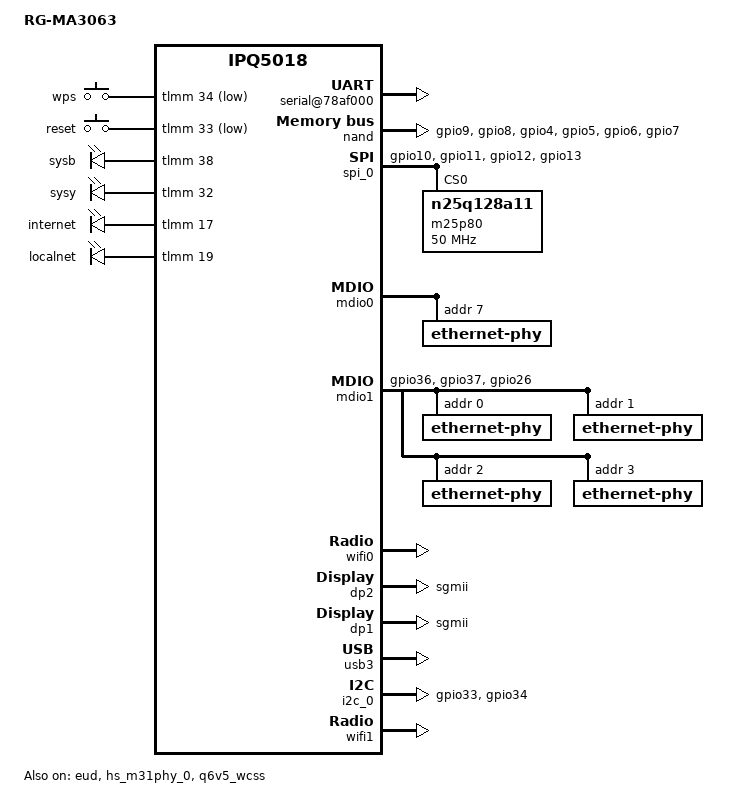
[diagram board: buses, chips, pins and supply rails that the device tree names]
// SPDX-License-Identifier: (GPL-2.0+)

/dts-v1/;

#include "ipq5018.dtsi"
#include "ipq5018-ess.dtsi"
#include <dt-bindings/gpio/gpio.h>
#include <dt-bindings/input/input.h>
/ {
	model = "RG-MA3063";
	compatible = "rg,ma3063", "qcom,ipq5018-mp02.1", "qcom,ipq5018";

	interrupt-parent = <&intc>;

	aliases {
		sdhc1 = &sdhc_1; /* SDC1 eMMC slot */
		serial0 = &blsp1_uart1;
		serial1 = &blsp1_uart2;
		ethernet0 = "/soc/dp1";
		ethernet1 = "/soc/dp2";
	};

	chosen {
	     bootargs = "console=ttyMSM0,115200,n8";
		bootargs-append = " ubi.mtd=rootfs root=/dev/ubiblock0_1 swiotlb=1 coherent_pool=2M";
	};

	soc {
		serial@78af000 {
			status = "ok";
		};

		qpic_bam: dma@7984000{
			status = "ok";
		};

		nand: qpic-nand@79b0000 {
			pinctrl-0 = <&qspi_nand_pins>;
			pinctrl-names = "default";
			status = "ok";
		};

		spi_0: spi@78b5000 { /* BLSP1 QUP0 */
			pinctrl-0 = <&blsp0_spi_pins>;
			pinctrl-names = "default";
			cs-select = <0>;
			status = "ok";

			m25p80@0 {
				#address-cells = <1>;
				#size-cells = <1>;
				reg = <0>;
				compatible = "n25q128a11";
				linux,modalias = "m25p80", "n25q128a11";
				spi-max-frequency = <50000000>;
				use-default-sizes;
			};
		};

		mdio0: mdio@88000 {
			status = "ok";

			ethernet-phy@0 {
				reg = <7>;
			};
		};

		mdio1: mdio@90000 {
			status = "ok";
			pinctrl-0 = <&mdio1_pins>;
			pinctrl-names = "default";
			phy-reset-gpio = <&tlmm 26 0>;

			ethernet-phy@0 {
				reg = <0>;
			};
			ethernet-phy@1 {
				reg = <1>;
			};
			ethernet-phy@2 {
				reg = <2>;
			};
			ethernet-phy@3 {
				reg = <3>;
			};

		};

		ess-uniphy@98000 {
			status = "disabled";
		};
		ess-instance {
			num_devices = <0x2>;
			ess-switch@0x39c00000 {
				switch_mac_mode = <0xf>; /* mac mode for uniphy instance*/
				cmnblk_clk = "internal_96MHz"; /* cmnblk clk*/
				qcom,port_phyinfo {
					port@0 {
						port_id = <1>;
						phy_address = <7>;
						mdiobus = <&mdio0>;
					};
					port@1 {
						port_id = <2>;
						phy_address = <0>;
						forced-speed = <1000>;
						forced-duplex = <1>;
					};
				};
				
				led_source@0 {
					source = <0>;
					mode = "normal";
					speed = "all";
					blink_en = "enable";
					active = "low";
				};
			};

			ess-switch1@1 {
				device_id = <1>;
				compatible = "qcom,ess-switch-qca83xx";
				switch_access_mode = "mdio";
				mdio-bus = <&mdio1>;
				reset_gpio = <0x1a>;
				link-polling-required = <0x01>;
				switch_cpu_bmp = <0x40>;  /* cpu port bitmap */
				switch_lan_bmp = <0x1e>; /* lan port bitmap */
				switch_wan_bmp = <0x00>;  /* wan port bitmap */
				qca,ar8327-initvals = <
						0x00004 0x0000000   /* PAD0_MODE */
						0x00008 0x0000000   /* PAD5_MODE */
						0x0000c 0x80        /* PAD6_MODE */
						0x00010 0x2613a0    /* PORT6 FORCE MODE*/
						0x000e4 0xaa545     /* MAC_POWER_SEL */
						0x000e0 0xc74164de  /* SGMII_CTRL */
						0x0007c 0x4e        /* PORT0_STATUS */
						0x00094 0x4e        /* PORT6_STATUS */
				>;
				qcom,port_phyinfo {
					port@0 {
						port_id = <1>;
						phy_address = <0>;
					};
					port@1 {
						port_id = <2>;
						phy_address = <1>;
					};
					port@2 {
						port_id = <3>;
						phy_address = <2>;
					};
					port@3 {
						port_id = <4>;
						phy_address = <3>;
					};
				};
			};
		};


		wifi0: wifi@c000000 {
			qcom,tgt-mem-mode = <2>;
			status = "ok";
		};

		wifi2: wifi2@c000000 {
			compatible = "qcom,cnss-qcn6122";
			qcom,rproc = <&q6v5_wcss>;
			status = "disabled";
		};

		dp2 {
			device_type = "network";
			compatible = "qcom,nss-dp";
			clocks = <&gcc GCC_SNOC_GMAC0_AXI_CLK>;
			clock-names = "nss-snoc-gmac-axi-clk";
			qcom,id = <1>;
			reg = <0x39C00000 0x10000>;
			interrupts = <GIC_SPI 101 IRQ_TYPE_LEVEL_HIGH>;
			qcom,mactype = <2>;
			qcom,link-poll = <1>;
			qcom,phy-mdio-addr = <7>;
			mdio-bus = <&mdio0>;
			local-mac-address = [00037F126463];
			phy-mode = "sgmii";
		};

		dp1 {
			device_type = "network";
			compatible = "qcom,nss-dp";
			clocks = <&gcc GCC_SNOC_GMAC1_AXI_CLK>;
			clock-names = "nss-snoc-gmac-axi-clk";
			qcom,id = <2>;
			reg = <0x39D00000 0x10000>;
			interrupts = <GIC_SPI 109 IRQ_TYPE_LEVEL_HIGH>;
			qcom,mactype = <2>;
			local-mac-address = [00037F126464];
			phy-mode = "sgmii";
		};
	};

	qcom,test@0 {
		status = "ok";
	};

	thermal-zones {
		status = "ok";
	};
};

&sdhc_1 {
	status = "disabled";
};

&tlmm {
	pinctrl-0 = <&blsp0_uart_pins>;
	pinctrl-names = "default";

	blsp0_uart_pins: blsp0_uart_pins {
		blsp0_uart_rx {
			pins = "gpio28";
			function = "blsp0_uart1";
			drive-strength = <8>;
			input-enable;
			bias-disable;
			bias-pull-up;
		};
		blsp0_uart_tx {
			pins = "gpio29";
			function = "blsp0_uart1";
			drive-strength = <8>;
			bias-disable;
			output-high;
			bias-pull-up;
		};
	};


	blsp0_spi_pins: blsp0_spi_pins {
		mux {
			pins = "gpio10", "gpio11", "gpio12", "gpio13";
			function = "blsp0_spi";
			drive-strength = <2>;
			bias-disable;
		};
	};

	qspi_nand_pins: qspi_nand_pins {
		qspi_clock {
			pins = "gpio9";
			function = "qspi_clk";
			drive-strength = <8>;
			bias-disable;
		};

		qspi_cs {
			pins = "gpio8";
			function = "qspi_cs";
			drive-strength = <8>;
			bias-disable;
		};

		qspi_data {
			pins = "gpio4", "gpio5", "gpio6", "gpio7";
			function = "qspi_data";
			drive-strength = <8>;
			bias-disable;
		};
	};


	mdio1_pins: mdio_pinmux {
		mux_0 {
			pins = "gpio36";
			function = "mdc";
			drive-strength = <8>;
			bias-pull-up;
		};

		mux_1 {
			pins = "gpio37";
			function = "mdio";
			drive-strength = <8>;
			bias-pull-up;
		};

		mux_2 {
			pins = "gpio26";
			function = "gpio";
			drive-strength = <8>;
			output-low;
			};

	};


	i2c_pins: i2c_pins {
		i2c_scl {
			pins = "gpio33";
			function = "blsp2_i2c0";
			drive-strength = <8>;
			bias-disable;
		};

		i2c_sda {
			pins = "gpio34";
			function = "blsp2_i2c0";
			drive-strength = <8>;
			bias-disable;
		};
	};

	btss_pins: btss_pins {

		phandle = <0x1>;

		mux_0 {
			pins = "gpio4";
			function = "btss0";
			bias-pull-down;
		};

		mux_1 {
			pins = "gpio5";
			function = "btss1";
			bias-pull-down;
		};

		mux_2 {
			pins = "gpio6";
			function = "btss2";
			bias-pull-down;
		};

		mux_3 {
			pins = "gpio7";
			function = "btss3";
			bias-pull-down;
		};
	};

	button_pins: button_pins {
		wps_button {
			pins = "gpio34";
			function = "gpio";
			drive-strength = <8>;
			bias-pull-up;
		};
		reset_button {
			pins = "gpio33";
			function = "gpio";
			drive-strength = <8>;
			bias-pull-up;
		};
	};

	leds_pins: leds_pins {
		sysb {
			pins = "gpio38";
			function = "gpio";
			drive-strength = <8>;
			bias-pull-down;
		};
		sysy {
			pins = "gpio32";
			function = "gpio";
			drive-strength = <8>;
			bias-pull-down;
		};
		internet {
			pins = "gpio17";
			function = "gpio";
			drive-strength = <8>;
			bias-pull-down;
		};
		localnet {
			pins = "gpio19";
			function = "gpio";
			drive-strength = <8>;
			bias-pull-down;
		};
	};

};

&soc {
	gpio_keys {
		compatible = "gpio-keys";
		pinctrl-0 = <&button_pins>;
		pinctrl-names = "default";

		button@1 {
			label = "wps";
			linux,code = <KEY_WPS_BUTTON>;
			gpios = <&tlmm 34 GPIO_ACTIVE_LOW>;
			linux,input-type = <1>;
			debounce-interval = <60>;
		};
		button@2 {
			label = "reset";
			linux,code = <KEY_RESTART>;
			gpios = <&tlmm 33 GPIO_ACTIVE_LOW>;
			linux,input-type = <1>;
			debounce-interval = <60>;
		};
	};
	leds {
		compatible = "gpio-leds";
		pinctrl-0 = <&leds_pins>;
		pinctrl-names = "default";

		led@19 {
			label = "sysb";
			gpios = <&tlmm 38 GPIO_ACTIVE_HIGH>;
			linux,default-trigger = "sysb";
			default-state = "on";
		};

		led@17 {
			label = "sysy";
			gpios = <&tlmm 32 GPIO_ACTIVE_HIGH>;
			linux,default-trigger = "sysb";
			default-state = "off";
		};

		led@22 {
			label = "internet";
			gpios = <&tlmm 17 GPIO_ACTIVE_HIGH>;
			linux,default-trigger = "sysb";
			default-state = "on";
		};

		led@20 {
			label = "localnet";
			gpios = <&tlmm 19 GPIO_ACTIVE_HIGH>;
			linux,default-trigger = "sysb";
			default-state = "off";
		};
	};
};

&usb3 {
	status = "ok";
};

&eud {
	status = "ok";
};

&dwc_0 {
	/delete-property/ #phy-cells;
	/delete-property/ phys;
	/delete-property/ phy-names;
};

&hs_m31phy_0 {
	status = "ok";
};

&pcie_x1phy {
	status = "disabled";
};

&pcie_x2phy {
	status = "disabled";
};

&pcie_x1_rp {
	status = "disabled";

	mhi_0: qcom,mhi@0 {
		reg = <0 0 0 0 0 >;
	};
};

&pcie_x2_rp {
	status = "disabled";

	mhi_1: qcom,mhi@1 {
		reg = <0 0 0 0 0 >;
	};
};

&q6v5_wcss {
	compatible = "qcom,ipq5018-q6-mpd";
	#address-cells = <1>;
	#size-cells = <1>;
	ranges;
	firmware = "IPQ5018/q6_fw.mdt";
	reg = <0x0cd00000 0x4040>,
		<0x1938000 0x8>,
		<0x193d204 0x4>;
	reg-names = "qdsp6",
			"tcsr-msip",
			"tcsr-q6";
	resets = <&gcc GCC_WCSSAON_RESET>,
			<&gcc GCC_WCSS_Q6_BCR>;

	reset-names = "wcss_aon_reset",
			"wcss_q6_reset";

	clocks = <&gcc GCC_Q6_AXIS_CLK>,
		<&gcc GCC_WCSS_ECAHB_CLK>,
		<&gcc GCC_Q6_AXIM_CLK>,
		<&gcc GCC_Q6_AXIM2_CLK>,
		<&gcc GCC_Q6_AHB_CLK>,
		<&gcc GCC_Q6_AHB_S_CLK>,
		<&gcc GCC_WCSS_AXI_S_CLK>;
	clock-names = "gcc_q6_axis_clk",
		"gcc_wcss_ecahb_clk",
		"gcc_q6_axim_clk",
		"gcc_q6_axim2_clk",
		"gcc_q6_ahb_clk",
		"gcc_q6_ahb_s_clk",
		"gcc_wcss_axi_s_clk";

	memory-region = <&q6_mem_regions>, <&q6_etr_region>;

	qcom,rproc = <&q6v5_wcss>;
	qcom,bootargs_smem = <507>;
	boot-args = <0x1 0x4 0x3 0x0F 0x0 0x0>,
			<0x2 0x4 0x2 0x1B 0x0 0x0>;
	status = "ok";
	q6_wcss_pd1: remoteproc_pd1@4ab000 {
		compatible = "qcom,ipq5018-wcss-ahb-mpd";
		reg = <0x4ab000 0x20>;
		reg-names = "rmb";
		firmware = "IPQ5018/q6_fw.mdt";
		m3_firmware = "IPQ5018/m3_fw.mdt";
		interrupts-extended = <&wcss_smp2p_in 8 0>,
					<&wcss_smp2p_in 9 0>,
					<&wcss_smp2p_in 12 0>,
					<&wcss_smp2p_in 11 0>;
		interrupt-names = "fatal",
					"ready",
					"spawn-ack",
					"stop-ack";

		resets = <&gcc GCC_WCSSAON_RESET>,
				<&gcc GCC_WCSS_BCR>,
				<&gcc GCC_CE_BCR>;
		reset-names = "wcss_aon_reset",
				"wcss_reset",
				"ce_reset";

		clocks = <&gcc GCC_WCSS_AHB_S_CLK>,
				<&gcc GCC_WCSS_ACMT_CLK>,
				<&gcc GCC_WCSS_AXI_M_CLK>;
		clock-names = "gcc_wcss_ahb_s_clk",
					"gcc_wcss_acmt_clk",
					"gcc_wcss_axi_m_clk";

		qcom,halt-regs = <&tcsr_q6_block 0xa000 0xd000 0x0>;

		qcom,smem-states = <&wcss_smp2p_out 8>,
					<&wcss_smp2p_out 9>,
					<&wcss_smp2p_out 10>;
		qcom,smem-state-names = "shutdown",
					"stop",
					"spawn";
		memory-region = <&q6_ipq5018_data>, <&m3_dump>,
				<&q6_etr_region>;
	};

	q6_wcss_pd2: remoteproc_pd2 {
		compatible = "qcom,ipq5018-wcss-pcie-mpd";
		firmware = "IPQ5018/q6_fw.mdt";
		m3_firmware = "qcn6122/m3_fw.mdt";
		interrupts-extended = <&wcss_smp2p_in 16 0>,
					<&wcss_smp2p_in 17 0>,
					<&wcss_smp2p_in 20 0>,
					<&wcss_smp2p_in 19 0>;
		interrupt-names = "fatal",
					"ready",
					"spawn-ack",
					"stop-ack";

		qcom,smem-states = <&wcss_smp2p_out 16>,
					<&wcss_smp2p_out 17>,
					<&wcss_smp2p_out 18>;
		qcom,smem-state-names = "shutdown",
					"stop",
					"spawn";
		memory-region = <&q6_qcn6122_data1>, <&m3_dump_qcn6122_1>,
				<&q6_qcn6122_etr_1>;
	};

};

&i2c_0 {
	pinctrl-0 = <&i2c_pins>;
	pinctrl-names = "default";
};

&wifi0 {
	// IPQ5018
	qcom,rproc = <&q6_wcss_pd1>;
	qcom,userpd-subsys-name = "q6v5_wcss_userpd1";
	qcom,ath11k-calibration-variant = "Linksys-MX2000";
	qcom,ath11k-fw-memory-mode = <2>;
	qcom,bdf-addr = <0x4c400000>;
	status = "okay";
};

&wifi1 {
	// QCN6102 5G
	qcom,rproc = <&q6_wcss_pd3>;
	qcom,userpd-subsys-name = "q6v5_wcss_userpd3";
	qcom,ath11k-calibration-variant = "Linksys-MX2000";
	qcom,ath11k-fw-memory-mode = <2>;
	qcom,bdf-addr = <0x4d100000>;
	qcom,m3-dump-addr = <0x4df00000>;
	status = "okay";
};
